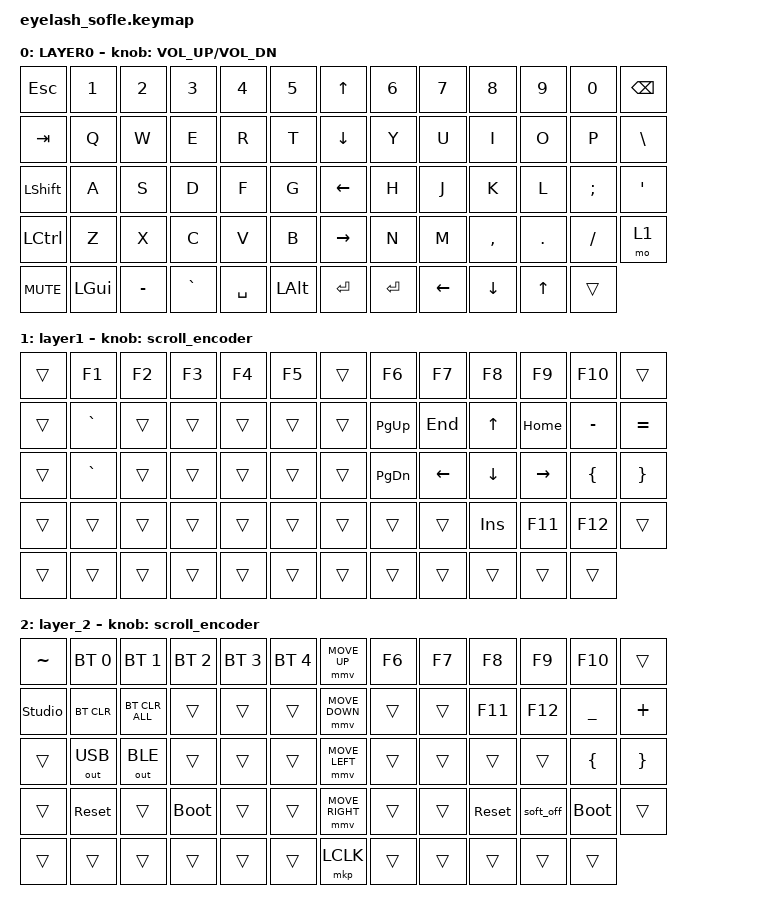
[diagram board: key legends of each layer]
#include <behaviors.dtsi>
#include <dt-bindings/zmk/bt.h>
#include <dt-bindings/zmk/keys.h>
#include <dt-bindings/zmk/mouse.h>
#include <dt-bindings/zmk/outputs.h>
#include <dt-bindings/zmk/rgb.h>

#include <input/processors.dtsi>

/*

   &mmv_input_listener {
       input-processors = <&zip_xy_scaler 2 1>;
   };

   &msc_input_listener {
       input-processors = <&zip_xy_scaler 2 1>;
   };

 */

#define ZMK_MOUSE_DEFAULT_MOVE_VAL 1200  // 600
#define ZMK_MOUSE_DEFAULT_SCRL_VAL 20    // 10


/ {
    behaviors {
        mmv {
            acceleration-exponent = <1>;      // 1
            time-to-max-speed-ms = <900>;    // 40
            delay-ms = <0>;                   // 0
        };

        msc {
            acceleration-exponent = <1>;      // 0
            time-to-max-speed-ms = <400>;      // 500
            delay-ms = <0>;                   //   10
        };
    };

    scroll_encoder: scroll_encoder {
        compatible = "zmk,behavior-sensor-rotate";
        #sensor-binding-cells = <0>;
        bindings = <&msc SCRL_DOWN>, <&msc SCRL_UP>;

        tap-ms = <30>;
    };

    keymap {
        compatible = "zmk,keymap";

        layer0 {
            bindings = <
&kp ESC     &kp N1     &kp N2        &kp N3        &kp N4        &kp N5       &kp UP_ARROW     &kp N6     &kp N7     &kp N8     &kp N9           &kp N0      &kp BACKSPACE
&kp TAB     &kp Q      &kp W         &kp E         &kp R         &kp T        &kp DOWN_ARROW   &kp Y      &kp U      &kp I      &kp O            &kp P       &kp BSLH
&kp LSHFT   &kp A      &kp S         &kp D         &kp F         &kp G        &kp LEFT_ARROW   &kp H      &kp J      &kp K      &kp L            &kp SEMI    &kp APOS
&kp LCTRL   &kp Z      &kp X         &kp C         &kp V         &kp B        &kp RIGHT_ARROW  &kp N      &kp M      &kp COMMA  &kp DOT          &kp FSLH    &mo 1
&kp C_MUTE  &kp LEFT_GUI &kp MINUS   &kp GRAVE     &kp SPACE     &kp LEFT_ALT &kp ENTER        &kp ENTER  &kp LEFT   &kp DOWN   &kp UP           &trans
            >;

            sensor-bindings = <&inc_dec_kp C_VOLUME_UP C_VOL_DN>;
            display-name = "LAYER0";
        };

        layer_1 {
            bindings = <
&trans      &kp F1           &kp F2          &kp F3           &kp F4           &kp F5             &trans           &kp F6           &kp F7           &kp F8      &kp F9     &kp F10           &trans
&trans      &kp GRAVE        &trans          &trans           &trans           &trans             &trans           &kp PG_UP        &kp END          &kp UP      &kp HOME   &kp MINUS         &kp EQUAL
&trans      &kp GRAVE        &trans          &trans           &trans           &trans             &trans           &kp PG_DN        &kp LEFT         &kp DOWN    &kp RIGHT  &kp LBRC          &kp RBRC
&trans      &trans           &trans          &trans           &trans           &trans             &trans           &trans           &trans           &kp INS     &kp F11    &kp F12           &trans
&trans      &trans           &trans          &trans           &trans           &trans             &trans           &trans           &trans           &trans      &trans     &trans
            >;

            display-name = "layer1";
            sensor-bindings = <&scroll_encoder>;
        };

        layer_2 {
            bindings = <
&kp TILDE  &bt BT_SEL 0  &bt BT_SEL 1    &bt BT_SEL 2  &bt BT_SEL 3  &bt BT_SEL 4    &mmv MOVE_UP     &kp F6  &kp F7  &kp F8      &kp F9     &kp F10      &trans
&studio_unlock      &bt BT_CLR    &bt BT_CLR_ALL  &trans        &trans        &trans          &mmv MOVE_DOWN   &trans  &trans  &kp F11     &kp F12    &kp UNDER    &kp PLUS
&trans     &out OUT_USB  &out OUT_BLE    &trans        &trans        &trans          &mmv MOVE_LEFT   &trans  &trans  &trans      &trans     &kp LBRC     &kp RBRC
&trans     &sys_reset    &trans          &bootloader   &trans        &trans          &mmv MOVE_RIGHT  &trans  &trans  &sys_reset  &soft_off  &bootloader  &trans
&trans     &trans        &trans          &trans        &trans        &trans          &mkp LCLK        &trans  &trans  &trans      &trans     &trans
            >;

            sensor-bindings = <&scroll_encoder>;
        };
    };
};
